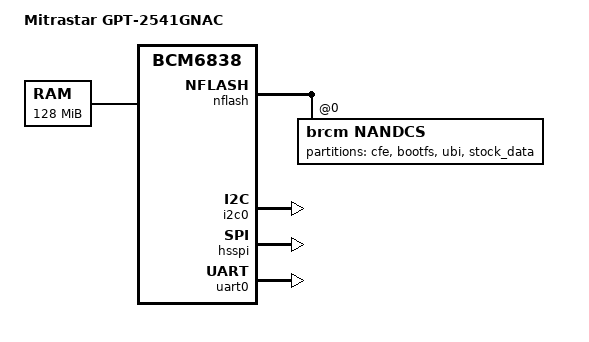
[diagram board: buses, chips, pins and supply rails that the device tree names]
// SPDX-License-Identifier: GPL-2.0-or-later

#include "bcm6838.dtsi"

/ {
	model = "Mitrastar GPT-2541GNAC";
	compatible = "mitrastar,gpt-2541gnac", "brcm,bcm6838";

	memory@0 {
		device_type = "memory";
		reg = <0x00000000 0x08000000>;
	};

	reserved-memory {
		#address-cells = <1>;
		#size-cells = <1>;
		ranges;

		/* Runner (RDP) multicast and traffic manager DDR, same as stock */
		rdp_mc: rdp-mc@6200000 {
			reg = <0x06200000 0x00400000>;
			no-map;
		};

		rdp_tm: rdp-tm@6600000 {
			reg = <0x06600000 0x01900000>;
			no-map;
		};
	};

#if 0
	aliases {
		led-boot = &led_power_green;
		led-failsafe = &led_power_green;
		led-running = &led_power_green;
		led-upgrade = &led_power_green;
	};
	
	
	keys {
		compatible = "gpio-keys-polled";
		poll-interval = <100>;

		wps {
			label = "wps";
			gpios = <&gpio 24 GPIO_ACTIVE_LOW>;
			linux,code = <KEY_WPS_BUTTON>;
			debounce-interval = <60>;
		};

		wlan {
			label = "wlan";
			gpios = <&gpio 25 GPIO_ACTIVE_LOW>;
			linux,code = <KEY_WLAN>;
			debounce-interval = <60>;
		};

		reset {
			label = "reset";
			gpios = <&gpio 31 GPIO_ACTIVE_LOW>;
			linux,code = <KEY_RESTART>;
			debounce-interval = <60>;
		};
	};

	bcm432217-sprom {
		compatible = "brcm,bcma-sprom";

		pci-bus = <1>;
		pci-dev = <0>;

		nvmem-cells = <&macaddr_cferom_6a0 1>;
		nvmem-cell-names = "mac-address";

		brcm,sprom = "brcm/bcm43217-sprom.bin";
		brcm,sprom-fixups = <6 0x1c00>,
				    <65 0x1256>,
				    <96 0x2046>,
				    <97 0xfe69>,
				    <98 0x1726>,
				    <99 0xfa5c>,
				    <112 0x2046>,
				    <113 0xfea8>,
				    <114 0x1978>,
				    <115 0xfa26>,
				    <161 0x2222>,
				    <169 0x2222>,
				    <171 0x2222>,
				    <173 0x2222>,
				    <174 0x4444>,
				    <175 0x2222>,
				    <176 0x4444>;
	};
#endif
};

&nflash {
	status = "okay";

	nandcs@0 {
		compatible = "brcm,nandcs";
		reg = <0>;
		nand-ecc-step-size = <512>;
		nand-ecc-strength = <4>;
		/* stock CFE: 16 OOB bytes per 512 byte step, BCH-4 */
		brcm,nand-oob-sector-size = <16>;
		/*
		 * No nand-on-flash-bbt: the CFE keeps its own BBT in the last
		 * blocks, Linux only reads the bad block markers.
		 */

		partitions {
			compatible = "fixed-partitions";
			#address-cells = <1>;
			#size-cells = <1>;

			/*
			 * Broadcom dual image layout. The stock firmware (image B) has
			 * been removed: OpenWrt boots from image A, and its UBI also
			 * takes the space of the old image B (bootfs + rootfs). CFE only
			 * looks at the JFFS2 bootfs of image A for cferam + kernel.
			 */
			partition@0 {
				label = "cfe";
				reg = <0x0000000 0x0020000>;
				read-only;
			};

			/* JFFS2 with cferam + vmlinux.lz4, "BcmFs-ubifs" marker at the end */
			partition@20000 {
				label = "bootfs";
				reg = <0x0020000 0x0600000>;
			};

			partition@620000 {
				label = "ubi";
				reg = <0x0620000 0x74c0000>;
			};

			partition@7b00000 {
				label = "stock_data";
				reg = <0x7b00000 0x0400000>;
				read-only;
			};
		};
	};
};

&i2c0 {
	status = "okay";
};

&hsspi{
	status = "okay";
};

&uart0 {
	status = "okay";
};

